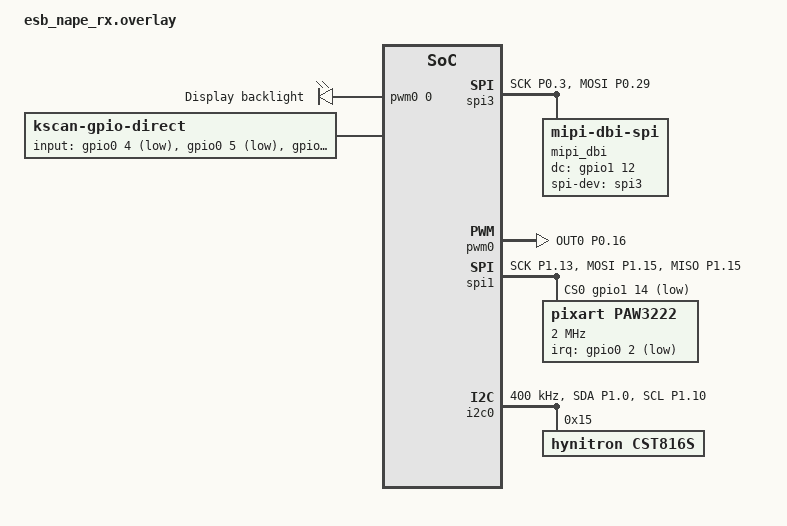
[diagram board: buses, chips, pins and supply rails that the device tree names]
#include <zephyr/dt-bindings/gpio/gpio.h>
#include <zephyr/dt-bindings/input/input-event-codes.h>

/*
 * Nape (ESB receiver + display + touch + local trackball)
 *
 * Pin map (decided 2026-10-27):
 *   Display ST7789V, dedicated SPI3: SCK=D1(P0.03) MOSI=D3(P0.29)
 *                                    CS=D2(P0.28)  DC=D7(P1.12)
 *                                    BL=P0.16 (PWM, hidden pad)
 *   Trackball PAW3222 (TANBOKU), dedicated SPI1:
 *                                    SCK=D8(P1.13) SDIO=D10(P1.15)
 *                                    CS=D9(P1.14)  MOTION=D0(P0.02)
 *   Touch CST816S, I2C0 on hidden pads: SDA=P1.00 SCL=P1.10, polling
 *   Keys x3 (direct GPIO): D4(P0.04) D5(P0.05) D6(P1.11)
 */

/* D6/D7 are used for a key and the display DC line. */
&xiao_serial {
	status = "disabled";
};

/* Instance 1 is used by the trackball SPIM; the board's TWIM1 must go. */
&i2c1 {
	status = "disabled";
};

&pinctrl {
	spi3_disp_default: spi3_disp_default {
		group1 {
			psels = <NRF_PSEL(SPIM_SCK, 0, 3)>,
				<NRF_PSEL(SPIM_MOSI, 0, 29)>;
		};
	};

	spi3_disp_sleep: spi3_disp_sleep {
		group1 {
			psels = <NRF_PSEL(SPIM_SCK, 0, 3)>,
				<NRF_PSEL(SPIM_MOSI, 0, 29)>;
			low-power-enable;
		};
	};

	spi1_tb_default: spi1_tb_default {
		group1 {
			psels = <NRF_PSEL(SPIM_SCK, 1, 13)>,
				<NRF_PSEL(SPIM_MOSI, 1, 15)>,
				<NRF_PSEL(SPIM_MISO, 1, 15)>;
		};
	};

	spi1_tb_sleep: spi1_tb_sleep {
		group1 {
			psels = <NRF_PSEL(SPIM_SCK, 1, 13)>,
				<NRF_PSEL(SPIM_MOSI, 1, 15)>,
				<NRF_PSEL(SPIM_MISO, 1, 15)>;
			low-power-enable;
		};
	};

	i2c0_touch_default: i2c0_touch_default {
		group1 {
			psels = <NRF_PSEL(TWIM_SDA, 1, 0)>,
				<NRF_PSEL(TWIM_SCL, 1, 10)>;
			bias-pull-up;
		};
	};

	i2c0_touch_sleep: i2c0_touch_sleep {
		group1 {
			psels = <NRF_PSEL(TWIM_SDA, 1, 0)>,
				<NRF_PSEL(TWIM_SCL, 1, 10)>;
			low-power-enable;
		};
	};

	pwm0_bl_default: pwm0_bl_default {
		group1 {
			psels = <NRF_PSEL(PWM_OUT0, 0, 16)>;
		};
	};

	pwm0_bl_sleep: pwm0_bl_sleep {
		group1 {
			psels = <NRF_PSEL(PWM_OUT0, 0, 16)>;
			low-power-enable;
		};
	};
};

/* ---- Display: ST7789V 240x280 on SPI3 (values mirror the proven
 *      Prospector adapter settings for the Waveshare 1.69" panel) ---- */
display_spi: &spi3 {
	status = "okay";
	pinctrl-0 = <&spi3_disp_default>;
	pinctrl-1 = <&spi3_disp_sleep>;
	pinctrl-names = "default", "sleep";
	cs-gpios = <&gpio0 28 GPIO_ACTIVE_LOW>;

	mipi_dbi {
		compatible = "zephyr,mipi-dbi-spi";
		spi-dev = <&spi3>;
		dc-gpios = <&gpio1 12 GPIO_ACTIVE_HIGH>;
		write-only;
		#address-cells = <1>;
		#size-cells = <0>;

		st7789v: st7789v@0 {
			compatible = "sitronix,st7789v";
			mipi-max-frequency = <30000000>;
			mipi-mode = "MIPI_DBI_MODE_SPI_4WIRE";
			reg = <0>;
			width = <240>;
			height = <280>;
			x-offset = <0>;
			y-offset = <20>;
			vcom = <0x19>;
			gctrl = <0x35>;
			vrhs = <0x12>;
			vdvs = <0x20>;
			mdac = <0x00>;
			gamma = <0x01>;
			colmod = <0x05>;
			lcm = <0x2c>;
			porch-param = [ 0c 0c 00 33 33 ];
			cmd2en-param = [ 5a 69 02 01 ];
			pwctrl1-param = [ a4 a1 ];
			pvgam-param = [ d0 04 0d 11 13 2b 3f 54 4c 18 0d 0b 1f 23 ];
			nvgam-param = [ d0 04 0c 11 13 2c 3f 44 51 2f 1f 1f 20 23 ];
			ram-param = [ 00 f0 ];
			rgb-param = [ cd 08 14 ];
		};
	};
};

/* Backlight PWM on P0.16 (hidden pad). */
&pwm0 {
	status = "okay";
	pinctrl-0 = <&pwm0_bl_default>;
	pinctrl-1 = <&pwm0_bl_sleep>;
	pinctrl-names = "default", "sleep";
};

/* ---- Trackball: PAW3222 (TANBOKU) on SPI1 ---- */
&spi1 {
	status = "okay";
	pinctrl-0 = <&spi1_tb_default>;
	pinctrl-1 = <&spi1_tb_sleep>;
	pinctrl-names = "default", "sleep";
	cs-gpios = <&gpio1 14 GPIO_ACTIVE_LOW>;

	paw3222: paw3222@0 {
		compatible = "pixart,paw3222";
		reg = <0>;
		spi-max-frequency = <2000000>;
		irq-gpios = <&gpio0 2 (GPIO_ACTIVE_LOW | GPIO_PULL_UP)>;
		res-cpi = <800>;
	};
};

/* ---- Touch: CST816S on I2C0 (hidden pads P1.00/P1.10, polled) ---- */
&i2c0 {
	status = "okay";
	pinctrl-0 = <&i2c0_touch_default>;
	pinctrl-1 = <&i2c0_touch_sleep>;
	pinctrl-names = "default", "sleep";
	clock-frequency = <400000>;

	cst816s: cst816s@15 {
		compatible = "hynitron,cst816s";
		reg = <0x15>;
	};
};

/ {
	chosen {
		zmk,kscan = &kscan;
		zephyr,display = &st7789v;
	};

	/* LVGL pointer input: routes CST816S touch events into LVGL.
	 * (Zephyr 4.1 mechanism: a dedicated node, not a chosen entry.) */
	lvgl_pointer_input {
		compatible = "zephyr,lvgl-pointer-input";
		input = <&cst816s>;
	};

	pwmleds {
		compatible = "pwm-leds";
		disp_bl: pwm_led_0 {
			pwms = <&pwm0 0 PWM_MSEC(1) PWM_POLARITY_NORMAL>;
			label = "Display backlight";
		};
	};

	kscan: kscan {
		compatible = "zmk,kscan-gpio-direct";
		input-gpios =
			<&gpio0 4 (GPIO_PULL_UP | GPIO_ACTIVE_LOW)>,
			<&gpio0 5 (GPIO_PULL_UP | GPIO_ACTIVE_LOW)>,
			<&gpio1 11 (GPIO_PULL_UP | GPIO_ACTIVE_LOW)>;
	};

	trackball_listener {
		compatible = "zmk,input-listener";
		device = <&paw3222>;
	};
};

/* Second USB CDC ACM port for the Studio over ESB forwarder
 * (same setup as esb_test_rx; first CDC port is the log console). */
&zephyr_udc0 {
	esb_studio_cdc: esb_studio_cdc {
		compatible = "zephyr,cdc-acm-uart";
	};
};
